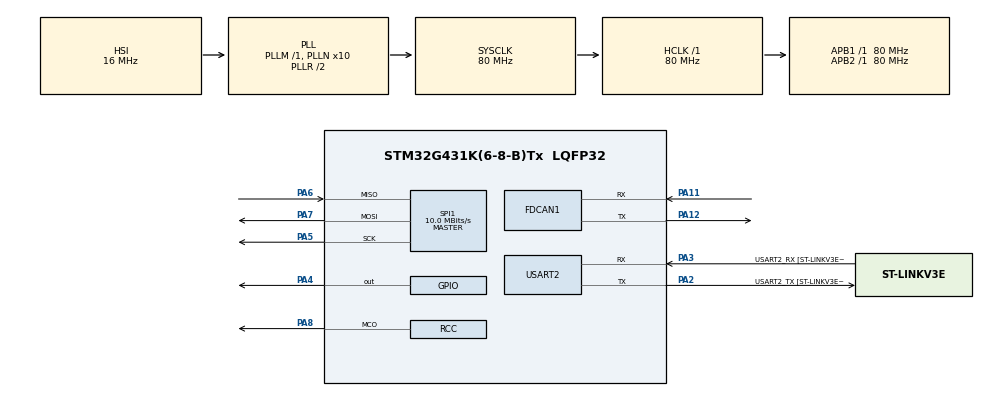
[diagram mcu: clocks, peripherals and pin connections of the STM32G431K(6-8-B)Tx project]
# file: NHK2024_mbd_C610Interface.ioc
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FDCAN1.CalculateBaudRateNominal=1000000
FDCAN1.CalculateTimeBitNominal=1000
FDCAN1.CalculateTimeQuantumNominal=200.0
Mcu.Family=STM32G4
Mcu.Name=STM32G431K(6-8-B)Tx
Mcu.Package=LQFP32
NVIC.PriorityGroup=NVIC_PRIORITYGROUP_4
NVIC.TIM1_TRG_COM_TIM17_IRQn=true\:0\:0\:false\:false\:true\:true\:true\:true
PA11.Mode=FDCAN_Activate
PA11.Signal=FDCAN1_RX
PA12.Mode=FDCAN_Activate
PA12.Signal=FDCAN1_TX
PA13.GPIO_Label=T_SWDIO
PA13.Mode=Serial_Wire
PA13.Signal=SYS_JTMS-SWDIO
PA14.GPIO_Label=T_SWCLK
PA14.Mode=Serial_Wire
PA14.Signal=SYS_JTCK-SWCLK
PA2.GPIO_Label=USART2_TX [ST-LINKV3E_VCP_RX]
PA2.Mode=Asynchronous
PA2.Signal=USART2_TX
PA3.GPIO_Label=USART2_RX [ST-LINKV3E_VCP_TX]
PA3.Mode=Asynchronous
PA3.Signal=USART2_RX
PA4.Signal=GPIO_Output
PA5.Mode=Full_Duplex_Master
PA5.Signal=SPI1_SCK
PA6.Mode=Full_Duplex_Master
PA6.Signal=SPI1_MISO
PA7.Mode=Full_Duplex_Master
PA7.Signal=SPI1_MOSI
PA8.Mode=Clock-out
PA8.Signal=RCC_MCO
PB3.GPIO_Label=T_SWO
PB3.Signal=SYS_JTDO-SWO
ProjectManager.HeapSize=0x200
ProjectManager.StackSize=0x400
ProjectManager.TargetToolchain=STM32CubeIDE
RCC.ADC12Freq_Value=80000000
RCC.AHBFreq_Value=80000000
RCC.APB1Freq_Value=80000000
RCC.APB1TimFreq_Value=80000000
RCC.APB2Freq_Value=80000000
RCC.APB2TimFreq_Value=80000000
RCC.CortexFreq_Value=80000000
RCC.EXTERNAL_CLOCK_VALUE=12288000
RCC.HCLKFreq_Value=80000000
RCC.HSE_VALUE=8000000
RCC.HSI48_VALUE=48000000
RCC.HSI_VALUE=16000000
RCC.LSE_VALUE=32768
RCC.PLLN=10
RCC.SYSCLKFreq_VALUE=80000000
RCC.SYSCLKSource=RCC_SYSCLKSOURCE_PLLCLK
RCC.USBFreq_Value=80000000
RCC.VCOOutputFreq_Value=160000000
SPI1.BaudRatePrescaler=SPI_BAUDRATEPRESCALER_8
SPI1.CalculateBaudRate=10.0 MBits/s
SPI1.DataSize=SPI_DATASIZE_8BIT
SPI1.Direction=SPI_DIRECTION_2LINES
SPI1.Mode=SPI_MODE_MASTER
SPI1.VirtualType=VM_MASTER
TIM17.PeriodNoDither=999
TIM17.Prescaler=79
USART2.VirtualMode-Asynchronous=VM_ASYNC
USART2.WordLength=WORDLENGTH_8B
VP_TIM17_VS_ClockSourceINT.Mode=Enable_Timer
board=NUCLEO-G431KB

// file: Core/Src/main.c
/* USER CODE BEGIN Header */
/**
  ******************************************************************************
  * @file           : main.c
  * @brief          : Main program body
  ******************************************************************************
  * @attention
  *
  * Copyright (c) 2023 STMicroelectronics.
  * All rights reserved.
  *
  * This software is licensed under terms that can be found in the LICENSE file
  * in the root directory of this software component.
  * If no LICENSE file comes with this software, it is provided AS-IS.
  *
  ******************************************************************************
  */
/* USER CODE END Header */
#include "main.h"

/* USER CODE BEGIN Includes */
#include "MCP2515_driver.h"
#include <stdio.h>
/* USER CODE END Includes */

FDCAN_HandleTypeDef hfdcan1;

SPI_HandleTypeDef hspi1;

TIM_HandleTypeDef htim17;

UART_HandleTypeDef huart2;

/* USER CODE BEGIN PV */
MCP_HandleTypeDef hmcp;
MCP_InitTypeDef imcp;
MCP_TxHeaderTypeDef hdrmcp;

/* USER CODE END PV */

void SystemClock_Config(void);
static void MX_GPIO_Init(void);
static void MX_USART2_UART_Init(void);
static void MX_FDCAN1_Init(void);
static void MX_SPI1_Init(void);
static void MX_TIM17_Init(void);

/* USER CODE BEGIN 0 */
int __io_putchar(int ch) {
    HAL_UART_Transmit(&huart2, (uint8_t *)&ch, 1, 100);
    return ch;
}

/* USER CODE END 0 */

int main(void)
{

  /* MCU Configuration--------------------------------------------------------*/

  /* Reset of all peripherals, Initializes the Flash interface and the Systick. */
  HAL_Init();

  /* Configure the system clock */
  SystemClock_Config();

  /* Initialize all configured peripherals */
  MX_GPIO_Init();
  MX_USART2_UART_Init();
  MX_FDCAN1_Init();
  MX_SPI1_Init();
  MX_TIM17_Init();
  /* USER CODE BEGIN 2 */
  hmcp.GPIOx = GPIOA;
  hmcp.GPIO_Pin = GPIO_PIN_4;
  hmcp.hspi = &hspi1;

  hdrmcp.DLC = 8;
  hdrmcp.EID = 0x00;
  hdrmcp.SID = 0x200;

  //settings
  imcp.mode = MODE_NORMAL;
  imcp.oneShotMode = MCP_FALSE;
  imcp.clockEnable = CLKOUT_DISABLE;
  imcp.clockPrescaler = CLKOUT_PS1;
  imcp.abort = MCP_FALSE;

  imcp.startOfFrame = SOF_DISABLE;
  imcp.wakeUpFilter = WAKFIL_DISABLE;
  imcp.bitTimeLengthMode = BTLMODE;
  imcp.sample = SAMPLE_1X;
  imcp.syncJumpWidth = SJW1;

  imcp.baudRatePrescaler = 0;
  imcp.propSegment = 1;
  imcp.phaseSegment1 = 2;
  imcp.phaseSegment2 = 1;

  imcp.enableRX0IT = MCP_TRUE;
  imcp.enableRX1IT = MCP_FALSE;
  imcp.CANITEnable = 0;

  imcp.SMask[0]   = 0x7F0;
  imcp.EMask[0]   = 0x000;
  imcp.SFilter[0] = 0x200;
  imcp.EFilter[0] = 0x000;
  imcp.SFilter[1] = 0x200;
  imcp.EFilter[1] = 0x000;

  imcp.SMask[1]   = 0x000;
  imcp.EMask[1]   = 0x000;
  imcp.SFilter[2] = 0x000;
  imcp.SFilter[2] = 0x000;
  imcp.EFilter[3] = 0x000;
  imcp.SFilter[3] = 0x000;
  imcp.EFilter[4] = 0x000;
  imcp.SFilter[4] = 0x000;
  imcp.EFilter[5] = 0x000;
  imcp.SFilter[5] = 0x000;

  MCP_Reset(&hmcp);
  MCP_Config(&hmcp, &imcp);
  MCP_Start(&hmcp, &imcp);

  HAL_TIM_Base_Start_IT(&htim17);
  /* USER CODE END 2 */

  /* Infinite loop */
  while (1)
  {

  }
}

void SystemClock_Config(void)
{
  RCC_OscInitTypeDef RCC_OscInitStruct = {0};
  RCC_ClkInitTypeDef RCC_ClkInitStruct = {0};

  /** Configure the main internal regulator output voltage
  */
  HAL_PWREx_ControlVoltageScaling(PWR_REGULATOR_VOLTAGE_SCALE1);

  /** Initializes the RCC Oscillators according to the specified parameters
  * in the RCC_OscInitTypeDef structure.
  */
  RCC_OscInitStruct.OscillatorType = RCC_OSCILLATORTYPE_HSI;
  RCC_OscInitStruct.HSIState = RCC_HSI_ON;
  RCC_OscInitStruct.HSICalibrationValue = RCC_HSICALIBRATION_DEFAULT;
  RCC_OscInitStruct.PLL.PLLState = RCC_PLL_ON;
  RCC_OscInitStruct.PLL.PLLSource = RCC_PLLSOURCE_HSI;
  RCC_OscInitStruct.PLL.PLLM = RCC_PLLM_DIV1;
  RCC_OscInitStruct.PLL.PLLN = 10;
  RCC_OscInitStruct.PLL.PLLP = RCC_PLLP_DIV2;
  RCC_OscInitStruct.PLL.PLLQ = RCC_PLLQ_DIV2;
  RCC_OscInitStruct.PLL.PLLR = RCC_PLLR_DIV2;
  if (HAL_RCC_OscConfig(&RCC_OscInitStruct) != HAL_OK)
  {
    Error_Handler();
  }

  /** Initializes the CPU, AHB and APB buses clocks
  */
  RCC_ClkInitStruct.ClockType = RCC_CLOCKTYPE_HCLK|RCC_CLOCKTYPE_SYSCLK
                              |RCC_CLOCKTYPE_PCLK1|RCC_CLOCKTYPE_PCLK2;
  RCC_ClkInitStruct.SYSCLKSource = RCC_SYSCLKSOURCE_PLLCLK;
  RCC_ClkInitStruct.AHBCLKDivider = RCC_SYSCLK_DIV1;
  RCC_ClkInitStruct.APB1CLKDivider = RCC_HCLK_DIV1;
  RCC_ClkInitStruct.APB2CLKDivider = RCC_HCLK_DIV1;

  if (HAL_RCC_ClockConfig(&RCC_ClkInitStruct, FLASH_LATENCY_2) != HAL_OK)
  {
    Error_Handler();
  }
  HAL_RCC_MCOConfig(RCC_MCO1, RCC_MCO1SOURCE_HSI, RCC_MCODIV_1);
}

static void MX_FDCAN1_Init(void)
{

  hfdcan1.Instance = FDCAN1;
  hfdcan1.Init.ClockDivider = FDCAN_CLOCK_DIV1;
  hfdcan1.Init.FrameFormat = FDCAN_FRAME_CLASSIC;
  hfdcan1.Init.Mode = FDCAN_MODE_NORMAL;
  hfdcan1.Init.AutoRetransmission = DISABLE;
  hfdcan1.Init.TransmitPause = DISABLE;
  hfdcan1.Init.ProtocolException = DISABLE;
  hfdcan1.Init.NominalPrescaler = 16;
  hfdcan1.Init.NominalSyncJumpWidth = 1;
  hfdcan1.Init.NominalTimeSeg1 = 2;
  hfdcan1.Init.NominalTimeSeg2 = 2;
  hfdcan1.Init.DataPrescaler = 1;
  hfdcan1.Init.DataSyncJumpWidth = 1;
  hfdcan1.Init.DataTimeSeg1 = 1;
  hfdcan1.Init.DataTimeSeg2 = 1;
  hfdcan1.Init.StdFiltersNbr = 0;
  hfdcan1.Init.ExtFiltersNbr = 0;
  hfdcan1.Init.TxFifoQueueMode = FDCAN_TX_FIFO_OPERATION;
  if (HAL_FDCAN_Init(&hfdcan1) != HAL_OK)
  {
    Error_Handler();
  }

}

static void MX_SPI1_Init(void)
{

  /* SPI1 parameter configuration*/
  hspi1.Instance = SPI1;
  hspi1.Init.Mode = SPI_MODE_MASTER;
  hspi1.Init.Direction = SPI_DIRECTION_2LINES;
  hspi1.Init.DataSize = SPI_DATASIZE_8BIT;
  hspi1.Init.CLKPolarity = SPI_POLARITY_LOW;
  hspi1.Init.CLKPhase = SPI_PHASE_1EDGE;
  hspi1.Init.NSS = SPI_NSS_SOFT;
  hspi1.Init.BaudRatePrescaler = SPI_BAUDRATEPRESCALER_8;
  hspi1.Init.FirstBit = SPI_FIRSTBIT_MSB;
  hspi1.Init.TIMode = SPI_TIMODE_DISABLE;
  hspi1.Init.CRCCalculation = SPI_CRCCALCULATION_DISABLE;
  hspi1.Init.CRCPolynomial = 7;
  hspi1.Init.CRCLength = SPI_CRC_LENGTH_DATASIZE;
  hspi1.Init.NSSPMode = SPI_NSS_PULSE_ENABLE;
  if (HAL_SPI_Init(&hspi1) != HAL_OK)
  {
    Error_Handler();
  }

}

static void MX_TIM17_Init(void)
{

  htim17.Instance = TIM17;
  htim17.Init.Prescaler = 79;
  htim17.Init.CounterMode = TIM_COUNTERMODE_UP;
  htim17.Init.Period = 999;
  htim17.Init.ClockDivision = TIM_CLOCKDIVISION_DIV1;
  htim17.Init.RepetitionCounter = 0;
  htim17.Init.AutoReloadPreload = TIM_AUTORELOAD_PRELOAD_DISABLE;
  if (HAL_TIM_Base_Init(&htim17) != HAL_OK)
  {
    Error_Handler();
  }

}

static void MX_USART2_UART_Init(void)
{

  huart2.Instance = USART2;
  huart2.Init.BaudRate = 115200;
  huart2.Init.WordLength = UART_WORDLENGTH_8B;
  huart2.Init.StopBits = UART_STOPBITS_1;
  huart2.Init.Parity = UART_PARITY_NONE;
  huart2.Init.Mode = UART_MODE_TX_RX;
  huart2.Init.HwFlowCtl = UART_HWCONTROL_NONE;
  huart2.Init.OverSampling = UART_OVERSAMPLING_16;
  huart2.Init.OneBitSampling = UART_ONE_BIT_SAMPLE_DISABLE;
  huart2.Init.ClockPrescaler = UART_PRESCALER_DIV1;
  huart2.AdvancedInit.AdvFeatureInit = UART_ADVFEATURE_NO_INIT;
  if (HAL_UART_Init(&huart2) != HAL_OK)
  {
    Error_Handler();
  }
  if (HAL_UARTEx_SetTxFifoThreshold(&huart2, UART_TXFIFO_THRESHOLD_1_8) != HAL_OK)
  {
    Error_Handler();
  }
  if (HAL_UARTEx_SetRxFifoThreshold(&huart2, UART_RXFIFO_THRESHOLD_1_8) != HAL_OK)
  {
    Error_Handler();
  }
  if (HAL_UARTEx_DisableFifoMode(&huart2) != HAL_OK)
  {
    Error_Handler();
  }

}

static void MX_GPIO_Init(void)
{
  GPIO_InitTypeDef GPIO_InitStruct = {0};

  /* GPIO Ports Clock Enable */
  __HAL_RCC_GPIOA_CLK_ENABLE();
  __HAL_RCC_GPIOB_CLK_ENABLE();

  /*Configure GPIO pin Output Level */
  HAL_GPIO_WritePin(GPIOA, GPIO_PIN_4, GPIO_PIN_RESET);

  /*Configure GPIO pin : PA4 */
  GPIO_InitStruct.Pin = GPIO_PIN_4;
  GPIO_InitStruct.Mode = GPIO_MODE_OUTPUT_PP;
  GPIO_InitStruct.Pull = GPIO_NOPULL;
  GPIO_InitStruct.Speed = GPIO_SPEED_FREQ_LOW;
  HAL_GPIO_Init(GPIOA, &GPIO_InitStruct);

  /*Configure GPIO pin : PA8 */
  GPIO_InitStruct.Pin = GPIO_PIN_8;
  GPIO_InitStruct.Mode = GPIO_MODE_AF_PP;
  GPIO_InitStruct.Pull = GPIO_NOPULL;
  GPIO_InitStruct.Speed = GPIO_SPEED_FREQ_LOW;
  GPIO_InitStruct.Alternate = GPIO_AF0_MCO;
  HAL_GPIO_Init(GPIOA, &GPIO_InitStruct);

}

/* USER CODE BEGIN 4 */
void HAL_TIM_PeriodElapsedCallback(TIM_HandleTypeDef *htim){
	if(htim == &htim17){
		printf("Timer Callback!!\r\n");
		uint8_t TxData[8] = {0x17, 0x70, 0, 0, 0, 0, 0, 0};
		hdrmcp.DLC = 8;
		hdrmcp.SID = 0x200;
		hdrmcp.EID = 0;
		MCP_Write_TxBuffer(&hmcp, &hdrmcp, TxData);

	}
}

/* USER CODE END 4 */

void Error_Handler(void)
{
  __disable_irq();
  while (1)
  {
  }
}
